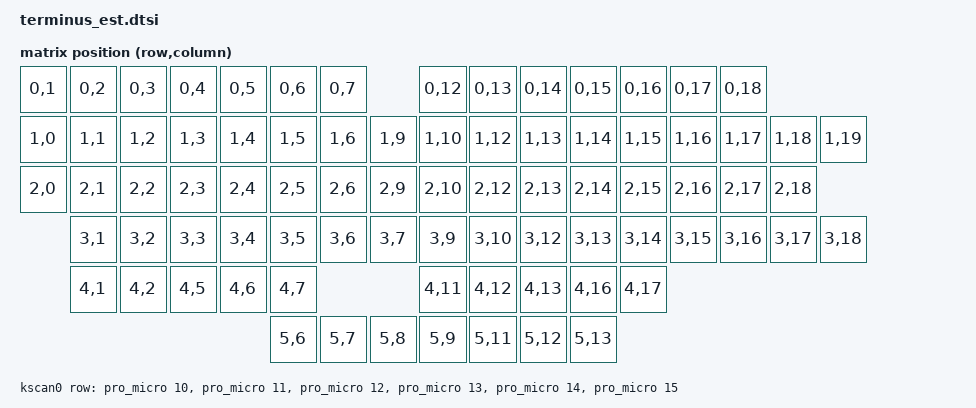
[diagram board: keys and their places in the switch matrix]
/*
 * Copyright (c) 2024 The ZMK Contributors
 *
 * SPDX-License-Identifier: MIT
 */

#include <dt-bindings/zmk/matrix_transform.h>
#include "terminus_est-layouts.dtsi"

/ {
	chosen {
		zmk,kscan = &kscan0;
		zmk,physical_layout = &physical_layout0;
	};

	default_transform: keymap_transform_0 {
		compatible = "zmk,matrix-transform";
		columns = <20>;
		rows = <6>;

		map = <
RC(0,1) RC(0,2) RC(0,3) RC(0,4) RC(0,5) RC(0,6) RC(0,7)                                     RC(0,12) RC(0,13) RC(0,14) RC(0,15) RC(0,16) RC(0,17) RC(0,18)
RC(1,0) RC(1,1) RC(1,2) RC(1,3) RC(1,4) RC(1,5) RC(1,6)             RC(1,9)                         RC(1,10) RC(1,12) RC(1,13) RC(1,14) RC(1,15) RC(1,16) RC(1,17) RC(1,18) RC(1,19)
RC(2,0) RC(2,1) RC(2,2) RC(2,3) RC(2,4) RC(2,5) RC(2,6)             RC(2,9)                         RC(2,10) RC(2,12) RC(2,13) RC(2,14) RC(2,15) RC(2,16) RC(2,17) RC(2,18)
        RC(3,1) RC(3,2) RC(3,3) RC(3,4) RC(3,5) RC(3,6) RC(3,7)     RC(3,9)                         RC(3,10) RC(3,12) RC(3,13) RC(3,14) RC(3,15) RC(3,16) RC(3,17) RC(3,18)
        RC(4,1) RC(4,2)         RC(4,5) RC(4,6) RC(4,7)                                     RC(4,11) RC(4,12) RC(4,13)         RC(4,16) RC(4,17)
                                        RC(5,6) RC(5,7) RC(5,8) RC(5,9)             RC(5,11) RC(5,12) RC(5,13)
		>;
	};

	kscan0: kscan {
		compatible = "zmk,kscan-gpio-matrix";

		diode-direction = "col2row";
		row-gpios
			= <&pro_micro 10 (GPIO_ACTIVE_HIGH | GPIO_PULL_DOWN)>   // ROW0 (GP10)
			, <&pro_micro 11 (GPIO_ACTIVE_HIGH | GPIO_PULL_DOWN)>   // ROW1 (GP11)
			, <&pro_micro 12 (GPIO_ACTIVE_HIGH | GPIO_PULL_DOWN)>   // ROW2 (GP12)
			, <&pro_micro 13 (GPIO_ACTIVE_HIGH | GPIO_PULL_DOWN)>   // ROW3 (GP13)
			, <&pro_micro 14 (GPIO_ACTIVE_HIGH | GPIO_PULL_DOWN)>   // ROW4 (GP14)
			, <&pro_micro 15 (GPIO_ACTIVE_HIGH | GPIO_PULL_DOWN)>   // ROW5 (GP15)
			;
	};
};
